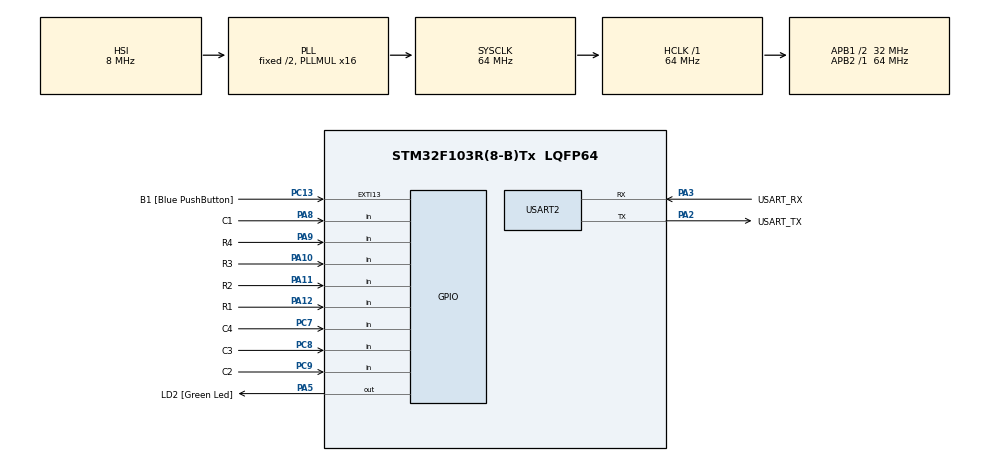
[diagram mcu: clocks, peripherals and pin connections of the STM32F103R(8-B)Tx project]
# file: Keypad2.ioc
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Mcu.Family=STM32F1
Mcu.Name=STM32F103R(8-B)Tx
Mcu.Package=LQFP64
NVIC.EXTI15_10_IRQn=true\:0\:0\:false\:false\:true\:true\:true
NVIC.PriorityGroup=NVIC_PRIORITYGROUP_4
PA10.GPIO_Label=R3
PA10.Signal=GPIO_Input
PA11.GPIO_Label=R2
PA11.Signal=GPIO_Input
PA12.GPIO_Label=R1
PA12.Signal=GPIO_Input
PA13.GPIO_Label=TMS
PA13.Mode=Serial_Wire
PA13.Signal=SYS_JTMS-SWDIO
PA14.GPIO_Label=TCK
PA14.Mode=Serial_Wire
PA14.Signal=SYS_JTCK-SWCLK
PA2.GPIO_Label=USART_TX
PA2.GPIO_Mode=GPIO_MODE_AF_PP
PA2.GPIO_PuPd=GPIO_NOPULL
PA2.GPIO_Speed=GPIO_SPEED_FREQ_LOW
PA2.Mode=Asynchronous
PA2.Signal=USART2_TX
PA3.GPIO_Label=USART_RX
PA3.GPIO_Mode=GPIO_MODE_AF_PP
PA3.GPIO_PuPd=GPIO_NOPULL
PA3.GPIO_Speed=GPIO_SPEED_FREQ_LOW
PA3.Mode=Asynchronous
PA3.Signal=USART2_RX
PA5.GPIO_Label=LD2 [Green Led]
PA5.GPIO_ModeDefaultOutputPP=GPIO_MODE_OUTPUT_PP
PA5.GPIO_PuPd=GPIO_NOPULL
PA5.GPIO_Speed=GPIO_SPEED_FREQ_LOW
PA5.Signal=GPIO_Output
PA8.GPIO_Label=C1
PA8.Signal=GPIO_Input
PA9.GPIO_Label=R4
PA9.Signal=GPIO_Input
PB3.GPIO_Label=SWO
PB3.Signal=SYS_JTDO-TRACESWO
PC13-TAMPER-RTC.GPIO_Label=B1 [Blue PushButton]
PC13-TAMPER-RTC.GPIO_PuPd=GPIO_NOPULL
PC13-TAMPER-RTC.Signal=GPXTI13
PC14-OSC32_IN.Mode=LSE-External-Oscillator
PC14-OSC32_IN.Signal=RCC_OSC32_IN
PC15-OSC32_OUT.Mode=LSE-External-Oscillator
PC15-OSC32_OUT.Signal=RCC_OSC32_OUT
PC7.GPIO_Label=C4
PC7.Signal=GPIO_Input
PC8.GPIO_Label=C3
PC8.Signal=GPIO_Input
PC9.GPIO_Label=C2
PC9.Signal=GPIO_Input
PD0-OSC_IN.Mode=HSE-External-Clock-Source
PD0-OSC_IN.Signal=RCC_OSC_IN
PD1-OSC_OUT.Mode=HSE-External-Clock-Source
PD1-OSC_OUT.Signal=RCC_OSC_OUT
ProjectManager.HeapSize=0x200
ProjectManager.StackSize=0x400
ProjectManager.TargetToolchain=STM32CubeIDE
RCC.AHBFreq_Value=64000000
RCC.APB1CLKDivider=RCC_HCLK_DIV2
RCC.APB1Freq_Value=32000000
RCC.APB1TimFreq_Value=64000000
RCC.APB2Freq_Value=64000000
RCC.APB2TimFreq_Value=64000000
RCC.HCLKFreq_Value=64000000
RCC.PLLMUL=RCC_PLL_MUL16
RCC.RTCClockSelection=RCC_RTCCLKSOURCE_LSE
RCC.SYSCLKFreq_VALUE=64000000
RCC.SYSCLKSource=RCC_SYSCLKSOURCE_PLLCLK
RCC.USBFreq_Value=64000000
USART2.VirtualMode=VM_ASYNC
board=NUCLEO-F103RB

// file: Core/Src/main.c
/* USER CODE BEGIN Header */
/**
  ******************************************************************************
  * @file           : main.c
  * @brief          : Main program body
  ******************************************************************************
  * @attention
  *
  * Copyright (c) 2022 STMicroelectronics.
  * All rights reserved.
  *
  * This software is licensed under terms that can be found in the LICENSE file
  * in the root directory of this software component.
  * If no LICENSE file comes with this software, it is provided AS-IS.
  *
  ******************************************************************************
  */
/* USER CODE END Header */
#include "main.h"
#include "usart.h"
#include "gpio.h"

/* USER CODE BEGIN Includes */
#include "keypad.h"
/* USER CODE END Includes */

/* USER CODE BEGIN PTD */
char key;
char tab[3];
/* USER CODE END PTD */

void SystemClock_Config(void);

/* USER CODE BEGIN 0 */
int analyze(char key){
	int number;
	if(key=='0')
		number=0;
	else if(key=='1')
		number=1;
	else if(key=='2')
		number=0;
	else if(key=='3')
		number=1;
	else if(key=='4')
		number=0;
	else if(key=='5')
		number=1;
	else if(key=='6')
		number=0;
	else if(key=='7')
		number=1;
	else if(key=='8')
		number=8;
	else
		number=9;

}
int number;
/* USER CODE END 0 */

int main(void)
{

  /* MCU Configuration--------------------------------------------------------*/

  /* Reset of all peripherals, Initializes the Flash interface and the Systick. */
  HAL_Init();

  /* Configure the system clock */
  SystemClock_Config();

  /* Initialize all configured peripherals */
  MX_GPIO_Init();
  MX_USART2_UART_Init();
  /* USER CODE BEGIN 2 */
  KeyPad_Init();
  /* USER CODE END 2 */

  /* Infinite loop */
  while (1)
  {

    /* USER CODE BEGIN 3 */

	  //key=KeyPad_WaitForKey(5000);
	 key = KeyPad_WaitForKeyGetChar(5000);
  }
  /* USER CODE END 3 */
}

void SystemClock_Config(void)
{
  RCC_OscInitTypeDef RCC_OscInitStruct = {0};
  RCC_ClkInitTypeDef RCC_ClkInitStruct = {0};

  /** Initializes the RCC Oscillators according to the specified parameters
  * in the RCC_OscInitTypeDef structure.
  */
  RCC_OscInitStruct.OscillatorType = RCC_OSCILLATORTYPE_HSI;
  RCC_OscInitStruct.HSIState = RCC_HSI_ON;
  RCC_OscInitStruct.HSICalibrationValue = RCC_HSICALIBRATION_DEFAULT;
  RCC_OscInitStruct.PLL.PLLState = RCC_PLL_ON;
  RCC_OscInitStruct.PLL.PLLSource = RCC_PLLSOURCE_HSI_DIV2;
  RCC_OscInitStruct.PLL.PLLMUL = RCC_PLL_MUL16;
  if (HAL_RCC_OscConfig(&RCC_OscInitStruct) != HAL_OK)
  {
    Error_Handler();
  }
  /** Initializes the CPU, AHB and APB buses clocks
  */
  RCC_ClkInitStruct.ClockType = RCC_CLOCKTYPE_HCLK|RCC_CLOCKTYPE_SYSCLK
                              |RCC_CLOCKTYPE_PCLK1|RCC_CLOCKTYPE_PCLK2;
  RCC_ClkInitStruct.SYSCLKSource = RCC_SYSCLKSOURCE_PLLCLK;
  RCC_ClkInitStruct.AHBCLKDivider = RCC_SYSCLK_DIV1;
  RCC_ClkInitStruct.APB1CLKDivider = RCC_HCLK_DIV2;
  RCC_ClkInitStruct.APB2CLKDivider = RCC_HCLK_DIV1;

  if (HAL_RCC_ClockConfig(&RCC_ClkInitStruct, FLASH_LATENCY_2) != HAL_OK)
  {
    Error_Handler();
  }
}

void Error_Handler(void)
{
  __disable_irq();
  while (1)
  {
  }
}
